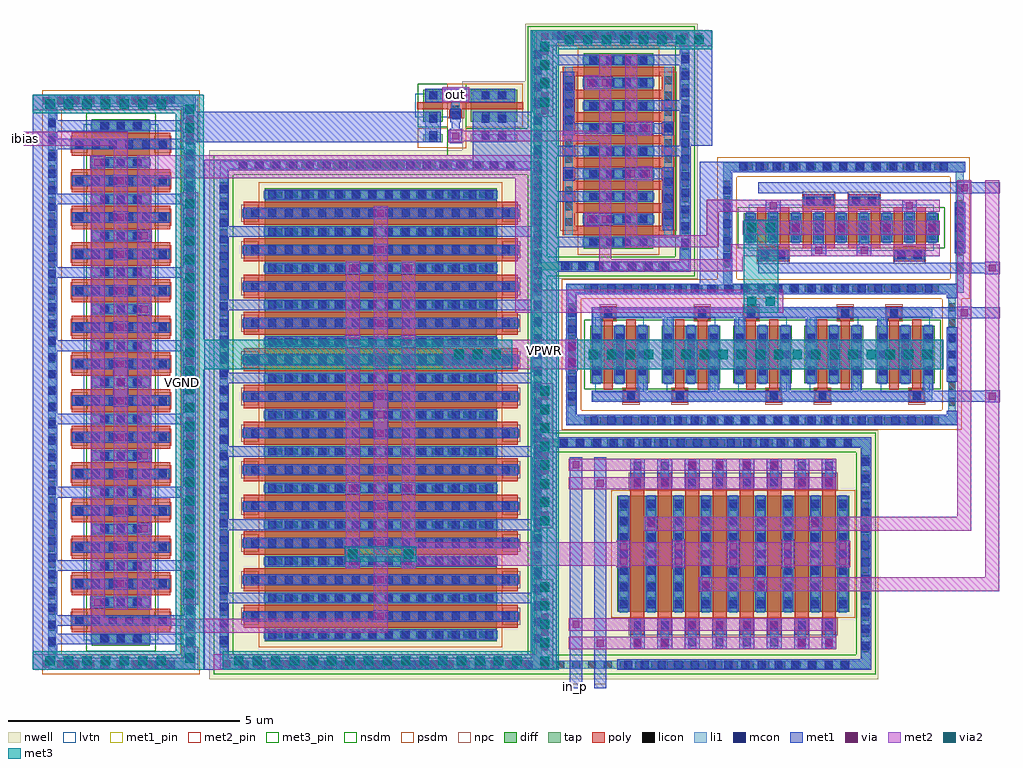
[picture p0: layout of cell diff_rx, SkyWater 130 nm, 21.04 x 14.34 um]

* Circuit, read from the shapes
.subckt diff_rx VGND VPWR ibias in_n in_p out
XM1 n1 VGND VGND VGND sky130_fd_pr__nfet_01v8_lvt w=1.25 l=0.5 m=2
XM2 VGND ibias n1 VGND sky130_fd_pr__nfet_01v8_lvt w=1.25 l=0.5 m=2
XM3 n2 ibias VGND VGND sky130_fd_pr__nfet_01v8_lvt w=1.25 l=0.5 m=8
XM4 ibias ibias VGND VGND sky130_fd_pr__nfet_01v8_lvt w=1.25 l=0.5 m=2
XM5 out n3 VGND VGND sky130_fd_pr__nfet_01v8_lvt w=0.42 l=0.15
XM6 VGND n4 n4 VGND sky130_fd_pr__nfet_01v8_lvt w=1.25 l=0.2 m=3
XM7 n5 n5 VGND VGND sky130_fd_pr__nfet_01v8_lvt w=1.25 l=0.2 m=3
XM8 VGND n5 n4 VGND sky130_fd_pr__nfet_01v8_lvt w=1.25 l=0.2 m=2
XM9 n5 n4 VGND VGND sky130_fd_pr__nfet_01v8_lvt w=1.25 l=0.2 m=2
XM10 n6 n5 n2 VGND sky130_fd_pr__nfet_01v8_lvt w=0.63 l=0.2 m=4
XM11 n3 n4 n2 VGND sky130_fd_pr__nfet_01v8_lvt w=0.63 l=0.2 m=4
XM12 VPWR n1 n7 VPWR sky130_fd_pr__pfet_01v8 w=5 l=0.5
XM13 n8 n1 VPWR VPWR sky130_fd_pr__pfet_01v8 w=5 l=0.5 m=8
XM14 n1 n1 VPWR VPWR sky130_fd_pr__pfet_01v8 w=5 l=0.5 m=2
XM15 n9 n1 VPWR VPWR sky130_fd_pr__pfet_01v8 w=5 l=0.5
XM16 out n3 VPWR VPWR sky130_fd_pr__pfet_01v8 w=1 l=0.15
XM17 n3 n6 VPWR VPWR sky130_fd_pr__pfet_01v8 w=1.5 l=0.2 m=4
XM18 n6 n6 VPWR VPWR sky130_fd_pr__pfet_01v8 w=1.5 l=0.2 m=4
XM19 n4 in_n n8 VPWR sky130_fd_pr__pfet_01v8 w=2.5 l=0.3 m=4
XM20 n5 in_p n8 VPWR sky130_fd_pr__pfet_01v8 w=2.5 l=0.3 m=4
.ends

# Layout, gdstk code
from math import pi, radians
import gdstk
lib = gdstk.Library(unit=1e-6, precision=1e-09)
def R(c, l, rs):  # rectangles x0, y0, x1, y1
    for r in rs: c.add(gdstk.rectangle(r[:2], r[2:], *l))
def A(c, l, x, y, w, h, nx, ny, dx, dy):  # array of equal rectangles
    R(c, l, [(x+i*dx, y+j*dy, x+i*dx+w, y+j*dy+h) for i in range(nx) for j in range(ny)])
nwell = (64, 20)
diff = (65, 20)
tap = (65, 44)
poly = (66, 20)
licon = (66, 44)
li1 = (67, 20)
mcon = (67, 44)
met1_pin = (68, 16)
met1 = (68, 20)
via = (68, 44)
met2_pin = (69, 16)
met2 = (69, 20)
via2 = (69, 44)
met3_pin = (70, 16)
met3 = (70, 20)
nsdm = (93, 44)
psdm = (94, 20)
npc = (95, 20)
lvtn = (125, 44)

diff_rx_s2ld = lib.new_cell('diff_rx_s2ld')
R(diff_rx_s2ld, nwell, [(-2.7,-1.7,2.7,1.7)])
R(diff_rx_s2ld, diff, [(-2.105,-0.75,2.105,0.75)])
A(diff_rx_s2ld, poly, -1.815, -0.935, 0.2, 1.87, 8, 1, 0.49, 0)
R(diff_rx_s2ld, poly, [(-1.815,-1.205,1.815,-0.935), (-1.815,0.935,1.815,1.205)])
A(diff_rx_s2ld, licon, -1.615, -1.155, 0.17, 0.17, 10, 2, 0.34, 2.14)
A(diff_rx_s2ld, licon, -2.045, -0.595, 0.17, 0.17, 9, 4, 0.49, 0.34)
A(diff_rx_s2ld, li1, -2.045, -0.77, 0.17, 1.54, 9, 1, 0.49, 0)
R(diff_rx_s2ld, li1, [(-1.815,-1.155,1.815,-0.985), (-1.815,0.985,1.815,1.155)])
A(diff_rx_s2ld, mcon, -1.47, -1.155, 0.17, 0.17, 3, 1, 0.36, 0)
A(diff_rx_s2ld, mcon, -2.045, -0.625, 0.17, 0.17, 9, 4, 0.49, 0.36)
A(diff_rx_s2ld, mcon, 0.58, 0.985, 0.17, 0.17, 3, 1, 0.36, 0)
R(diff_rx_s2ld, mcon, [(0.405,-1.155,0.575,-0.985), (-0.575,0.985,-0.405,1.155)])
A(diff_rx_s2ld, met1, -2.075, -1.325, 0.23, 2.65, 3, 1, 1.96, 0)
R(diff_rx_s2ld, met1, [(-2.6,-1.555,2.6,-1.325), (-2.6,-1.325,-2.37,1.325), (0.865,-1.325,1.095,0.75), (2.37,-1.325,2.6,1.325), (-1.705,-1.185,-0.345,-0.955), (0.345,-1.185,0.635,-0.955), (-0.605,-0.955,-0.375,-0.76), (0.375,-0.955,0.605,-0.76), (-0.62,-0.76,-0.36,-0.12), (0.36,-0.76,0.62,-0.12), (-1.585,-0.75,-1.355,0.12), (-1.095,-0.75,-0.865,1.325), (1.355,-0.75,1.585,0.12), (-0.605,-0.12,-0.375,0.955), (0.375,-0.12,0.605,0.955), (-1.6,0.12,-1.34,0.76), (1.34,0.12,1.6,0.76), (-0.635,0.955,-0.345,1.185), (0.345,0.955,1.705,1.185), (-2.6,1.325,2.6,1.555)])
R(diff_rx_s2ld, via, [(-0.565,-0.675,-0.415,-0.525), (0.415,-0.675,0.565,-0.525), (-0.565,-0.355,-0.415,-0.205), (0.415,-0.355,0.565,-0.205), (-1.545,0.205,-1.395,0.355), (1.395,0.205,1.545,0.355), (-1.545,0.525,-1.395,0.675), (1.395,0.525,1.545,0.675)])
R(diff_rx_s2ld, met2, [(-0.65,-0.73,-0.33,-0.41), (0.33,-0.73,0.65,-0.41), (-2.075,-0.41,2.075,-0.15), (-2.075,0.15,2.075,0.41), (-1.63,0.41,-1.31,0.73), (1.31,0.41,1.63,0.73)])
R(diff_rx_s2ld, psdm, [(-2.23,-0.875,2.23,0.875)])
R(diff_rx_s2ld, npc, [(-1.715,-1.255,1.715,-0.885), (-1.715,0.885,1.715,1.255)])

diff_rx_s2dp = lib.new_cell('diff_rx_s2dp')
R(diff_rx_s2dp, diff, [(-2.105,-0.315,2.105,0.315)])
A(diff_rx_s2dp, poly, -0.835, -0.39, 0.2, 0.835, 4, 1, 0.49, 0)
R(diff_rx_s2dp, poly, [(-0.835,-0.725,-0.145,-0.39), (0.145,-0.725,0.835,-0.39), (-1.815,-0.445,-1.615,0.39), (-1.325,-0.445,-1.125,0.39), (1.125,-0.445,1.325,0.39), (1.615,-0.445,1.815,0.39), (-1.815,0.39,-1.125,0.725), (1.125,0.39,1.815,0.725)])
A(diff_rx_s2dp, licon, -2.045, -0.255, 0.17, 0.17, 9, 2, 0.49, 0.34)
R(diff_rx_s2dp, licon, [(-0.745,-0.675,-0.575,-0.505), (-0.405,-0.675,-0.235,-0.505), (0.235,-0.675,0.405,-0.505), (0.575,-0.675,0.745,-0.505), (-1.725,0.505,-1.555,0.675), (-1.385,0.505,-1.215,0.675), (1.215,0.505,1.385,0.675), (1.555,0.505,1.725,0.675)])
A(diff_rx_s2dp, li1, -2.045, -0.335, 0.17, 0.67, 9, 1, 0.49, 0)
R(diff_rx_s2dp, li1, [(-0.835,-0.675,-0.145,-0.505), (0.145,-0.675,0.835,-0.505), (-1.815,0.505,-1.125,0.675), (1.125,0.505,1.815,0.675)])
A(diff_rx_s2dp, mcon, -2.045, -0.085, 0.17, 0.17, 9, 1, 0.49, 0)
R(diff_rx_s2dp, mcon, [(-0.755,-0.675,-0.585,-0.505), (-0.395,-0.675,-0.225,-0.505), (0.225,-0.675,0.395,-0.505), (0.585,-0.675,0.755,-0.505), (-1.735,0.505,-1.565,0.675), (-1.375,0.505,-1.205,0.675), (1.205,0.505,1.375,0.675), (1.565,0.505,1.735,0.675)])
A(diff_rx_s2dp, met1, -2.075, -0.315, 0.23, 0.155, 5, 2, 0.98, 0.475)
A(diff_rx_s2dp, met1, -2.09, -0.16, 0.26, 0.32, 5, 1, 0.98, 0)
R(diff_rx_s2dp, met1, [(-1.795,-0.98,1.795,-0.75), (-0.815,-0.75,-0.165,-0.475), (0.165,-0.75,0.815,-0.475), (-1.63,-0.61,-1.31,-0.35), (1.31,-0.61,1.63,-0.35), (-1.585,-0.35,-1.355,0.315), (1.355,-0.35,1.585,0.315), (-0.605,-0.315,-0.375,0.35), (0.375,-0.315,0.605,0.35), (-0.65,0.35,-0.33,0.61), (0.33,0.35,0.65,0.61), (-1.795,0.475,-1.145,0.75), (1.145,0.475,1.795,0.75), (-1.795,0.75,1.795,0.98)])
A(diff_rx_s2dp, via, -2.035, -0.075, 0.15, 0.15, 5, 1, 0.98, 0)
R(diff_rx_s2dp, via, [(-1.545,-0.555,-1.395,-0.405), (1.395,-0.555,1.545,-0.405), (-0.565,0.405,-0.415,0.555), (0.415,0.405,0.565,0.555)])
R(diff_rx_s2dp, met2, [(-2.12,-0.61,2.12,-0.35), (-2.12,-0.15,2.12,0.15), (-2.12,0.35,2.12,0.61)])
R(diff_rx_s2dp, nsdm, [(-2.23,-0.44,2.23,0.44)])
R(diff_rx_s2dp, npc, [(-0.845,-0.775,-0.135,-0.405), (0.135,-0.775,0.845,-0.405), (-1.825,0.405,-1.115,0.775), (1.115,0.405,1.825,0.775)])
R(diff_rx_s2dp, lvtn, [(-1.995,-0.495,1.995,0.495)])

diff_rx_s1ld = lib.new_cell('diff_rx_s1ld')
A(diff_rx_s1ld, diff, -3.715, -0.625, 1.27, 1.25, 5, 1, 1.54, 0)
R(diff_rx_s1ld, poly, [(-3,-1.035,-2.67,-0.765), (-1.95,-1.035,-1.62,-0.765), (0.08,-1.035,0.41,-0.765), (1.13,-1.035,1.46,-0.765), (3.16,-1.035,3.49,-0.765), (-2.935,-0.765,-2.735,0.755), (-1.885,-0.765,-1.685,0.755), (0.145,-0.765,0.345,0.755), (1.195,-0.765,1.395,0.755), (3.225,-0.765,3.425,0.755), (-3.425,-0.755,-3.225,0.765), (-1.395,-0.755,-1.195,0.765), (-0.345,-0.755,-0.145,0.765), (1.685,-0.755,1.885,0.765), (2.735,-0.755,2.935,0.765), (-3.49,0.765,-3.16,1.035), (-1.46,0.765,-1.13,1.035), (-0.41,0.765,-0.08,1.035), (1.62,0.765,1.95,1.035), (2.67,0.765,3,1.035)])
A(diff_rx_s1ld, licon, -3.655, -0.425, 0.17, 0.17, 3, 3, 0.49, 0.34)
A(diff_rx_s1ld, licon, -2.115, -0.425, 0.17, 0.17, 3, 3, 0.49, 0.34)
A(diff_rx_s1ld, licon, -0.575, -0.425, 0.17, 0.17, 3, 3, 0.49, 0.34)
A(diff_rx_s1ld, licon, 0.965, -0.425, 0.17, 0.17, 3, 3, 0.49, 0.34)
A(diff_rx_s1ld, licon, 2.505, -0.425, 0.17, 0.17, 3, 3, 0.49, 0.34)
R(diff_rx_s1ld, licon, [(-2.92,-0.985,-2.75,-0.815), (-1.87,-0.985,-1.7,-0.815), (0.16,-0.985,0.33,-0.815), (1.21,-0.985,1.38,-0.815), (3.24,-0.985,3.41,-0.815), (-3.41,0.815,-3.24,0.985), (-1.38,0.815,-1.21,0.985), (-0.33,0.815,-0.16,0.985), (1.7,0.815,1.87,0.985), (2.75,0.815,2.92,0.985)])
A(diff_rx_s1ld, li1, -2.675, -0.815, 0.17, 1.46, 5, 1, 1.54, 0)
A(diff_rx_s1ld, li1, -3.655, -0.645, 0.17, 1.46, 5, 1, 1.54, 0)
A(diff_rx_s1ld, li1, -3.165, -0.645, 0.17, 1.29, 5, 1, 1.54, 0)
R(diff_rx_s1ld, li1, [(-3.655,-0.985,3.655,-0.815), (-3.655,0.815,3.655,0.985)])
A(diff_rx_s1ld, mcon, -3.655, -0.445, 0.17, 0.17, 3, 3, 0.49, 0.36)
A(diff_rx_s1ld, mcon, -2.115, -0.445, 0.17, 0.17, 3, 3, 0.49, 0.36)
A(diff_rx_s1ld, mcon, -0.575, -0.445, 0.17, 0.17, 3, 3, 0.49, 0.36)
A(diff_rx_s1ld, mcon, 0.965, -0.445, 0.17, 0.17, 3, 3, 0.49, 0.36)
A(diff_rx_s1ld, mcon, 2.505, -0.445, 0.17, 0.17, 3, 3, 0.49, 0.36)
R(diff_rx_s1ld, mcon, [(-2.92,-0.985,-2.75,-0.815), (-1.87,-0.985,-1.7,-0.815), (0.16,-0.985,0.33,-0.815), (1.21,-0.985,1.38,-0.815), (3.24,-0.985,3.41,-0.815), (-3.41,0.815,-3.24,0.985), (-1.38,0.815,-1.21,0.985), (-0.33,0.815,-0.16,0.985), (1.7,0.815,1.87,0.985), (2.75,0.815,2.92,0.985)])
A(diff_rx_s1ld, met1, -2.705, -0.785, 0.23, 1.41, 5, 1, 1.54, 0)
A(diff_rx_s1ld, met1, -3.685, -0.625, 0.23, 1.41, 5, 1, 1.54, 0)
A(diff_rx_s1ld, met1, -3.195, -0.625, 0.23, 0.305, 5, 2, 1.54, 0.945)
A(diff_rx_s1ld, met1, -3.21, -0.32, 0.26, 0.64, 5, 1, 1.54, 0)
R(diff_rx_s1ld, met1, [(-3.685,-1.015,3.685,-0.785), (-3.685,0.785,3.685,1.015)])
A(diff_rx_s1ld, via, -3.155, -0.235, 0.15, 0.15, 5, 2, 1.54, 0.32)
R(diff_rx_s1ld, met2, [(-3.9,-0.32,3.9,0.32)])
R(diff_rx_s1ld, nsdm, [(-3.84,-0.75,3.84,0.75)])
R(diff_rx_s1ld, npc, [(-3.02,-1.085,-2.65,-0.715), (-1.97,-1.085,-1.6,-0.715), (0.06,-1.085,0.43,-0.715), (1.11,-1.085,1.48,-0.715), (3.14,-1.085,3.51,-0.715), (-3.51,0.715,-3.14,1.085), (-1.48,0.715,-1.11,1.085), (-0.43,0.715,-0.06,1.085), (1.6,0.715,1.97,1.085), (2.65,0.715,3.02,1.085)])
A(diff_rx_s1ld, lvtn, -3.605, -0.805, 1.05, 1.61, 5, 1, 1.54, 0)

diff_rx_s1dp = lib.new_cell('diff_rx_s1dp')
R(diff_rx_s1dp, nwell, [(-3.7,-2.3,2.7,2.3)])
R(diff_rx_s1dp, diff, [(-2.505,-1.25,2.505,1.25)])
A(diff_rx_s1dp, poly, -2.215, -1.735, 0.3, 3.47, 8, 1, 0.59, 0)
A(diff_rx_s1dp, licon, -2.15, -1.655, 0.17, 0.17, 8, 2, 0.59, 3.14)
A(diff_rx_s1dp, licon, -2.445, -1.105, 0.17, 0.17, 9, 7, 0.59, 0.34)
A(diff_rx_s1dp, li1, -2.15, -2.035, 0.17, 0.63, 8, 2, 0.59, 3.44)
A(diff_rx_s1dp, li1, -2.445, -1.27, 0.17, 2.54, 9, 1, 0.59, 0)
A(diff_rx_s1dp, mcon, -2.15, -1.985, 0.17, 0.17, 8, 2, 0.59, 0.36)
A(diff_rx_s1dp, mcon, -2.445, -1.165, 0.17, 0.17, 9, 7, 0.59, 0.36)
A(diff_rx_s1dp, mcon, -2.15, 1.455, 0.17, 0.17, 8, 2, 0.59, 0.36)
A(diff_rx_s1dp, met1, -2.225, -2.05, 0.32, 0.66, 8, 2, 0.59, 3.44)
A(diff_rx_s1dp, met1, -2.475, -1.25, 0.23, 0.93, 5, 2, 1.18, 1.57)
A(diff_rx_s1dp, met1, -2.49, -0.32, 0.26, 0.64, 5, 1, 1.18, 0)
R(diff_rx_s1dp, met1, [(-3.52,-2.2,-3.26,2.08), (-3,-2.2,-2.74,2.08), (-1.885,-1.25,-1.655,0.49), (-0.705,-1.25,-0.475,-0.81), (0.475,-1.25,0.705,-0.81), (1.655,-1.25,1.885,0.49), (-0.72,-0.81,-0.46,-0.49), (0.46,-0.81,0.72,-0.49), (-0.705,-0.49,-0.475,1.25), (0.475,-0.49,0.705,1.25), (-1.9,0.49,-1.64,0.81), (1.64,0.49,1.9,0.81), (-1.885,0.81,-1.655,1.25), (1.655,0.81,1.885,1.25)])
A(diff_rx_s1dp, via, -0.96, -1.595, 0.15, 0.15, 4, 2, 0.59, 3.44)
A(diff_rx_s1dp, via, -2.435, -0.235, 0.15, 0.15, 5, 2, 1.18, 0.32)
R(diff_rx_s1dp, via, [(-2.945,-1.995,-2.795,-1.845), (-2.14,-1.995,-1.99,-1.845), (-1.55,-1.995,-1.4,-1.845), (1.4,-1.995,1.55,-1.845), (1.99,-1.995,2.14,-1.845), (-3.465,-1.595,-3.315,-1.445), (-0.665,-0.725,-0.515,-0.575), (0.515,-0.725,0.665,-0.575), (-1.845,0.575,-1.695,0.725), (1.695,0.575,1.845,0.725), (-2.945,1.445,-2.795,1.595), (-2.14,1.445,-1.99,1.595), (-1.55,1.445,-1.4,1.595), (1.4,1.445,1.55,1.595), (1.99,1.445,2.14,1.595), (-3.465,1.845,-3.315,1.995)])
A(diff_rx_s1dp, met2, -2.52, -0.29, 0.32, 0.04, 5, 2, 1.18, 0.54)
R(diff_rx_s1dp, met2, [(-3.55,-2.05,2.225,-1.79), (-3.55,-1.65,2.225,-1.39), (-0.75,-0.8,0.75,-0.5), (-2.52,-0.25,2.52,0.25), (-1.93,0.5,1.93,0.8), (-3.55,1.39,2.225,1.65), (-3.55,1.79,2.225,2.05)])
R(diff_rx_s1dp, psdm, [(-2.63,-1.375,2.63,1.375)])
R(diff_rx_s1dp, npc, [(-2.25,-1.755,2.25,-1.385), (-2.25,1.385,2.25,1.755)])

diff_rx_s1cm = lib.new_cell('diff_rx_s1cm')
R(diff_rx_s1cm, nwell, [(-5.7,-3.7,5.7,3.7)])
R(diff_rx_s1cm, diff, [(-4.885,-2.5,4.885,2.5)])
A(diff_rx_s1cm, poly, -4.595, -2.955, 0.5, 5.91, 12, 1, 0.79, 0)
A(diff_rx_s1cm, licon, -4.43, -2.905, 0.17, 0.17, 12, 2, 0.79, 5.64)
A(diff_rx_s1cm, licon, -4.825, -2.295, 0.17, 0.17, 13, 14, 0.79, 0.34)
A(diff_rx_s1cm, li1, -4.43, -2.985, 0.17, 5.97, 12, 1, 0.79, 0)
A(diff_rx_s1cm, li1, -4.825, -2.52, 0.17, 5.04, 13, 1, 0.79, 0)
A(diff_rx_s1cm, mcon, -4.43, -2.785, 0.17, 0.17, 12, 2, 0.79, 5.4)
A(diff_rx_s1cm, mcon, -4.825, -2.425, 0.17, 0.17, 25, 14, 0.395, 0.36)
A(diff_rx_s1cm, met1, -4.065, -3.27, 0.23, 6.54, 6, 1, 1.58, 0)
A(diff_rx_s1cm, met1, -4.46, -2.965, 0.23, 2.805, 12, 2, 0.79, 3.125)
A(diff_rx_s1cm, met1, -4.475, -0.16, 0.26, 0.32, 5, 1, 0.79, 0)
A(diff_rx_s1cm, met1, 1.055, -0.16, 0.26, 0.32, 5, 1, 0.79, 0)
R(diff_rx_s1cm, met1, [(-5.5,-3.5,5.5,-3.27), (-5.5,-3.27,-5.27,3.27), (5.27,-3.27,5.5,3.27), (-4.855,-2.5,-4.625,2.5), (-3.275,-2.5,-3.045,-0.76), (-1.695,-2.5,-1.465,-0.76), (-0.115,-2.5,0.115,-0.16), (1.465,-2.5,1.695,-0.76), (3.045,-2.5,3.275,-0.76), (4.625,-2.5,4.855,2.5), (-3.29,-0.76,-3.03,-0.44), (-1.71,-0.76,-1.45,-0.44), (1.45,-0.76,1.71,-0.44), (3.03,-0.76,3.29,-0.44), (-3.275,-0.44,-3.045,0.44), (-1.695,-0.44,-1.465,0.44), (1.465,-0.44,1.695,0.44), (3.045,-0.44,3.275,0.44), (-0.525,-0.16,0.525,0.16), (-0.115,0.16,0.115,2.5), (-3.29,0.44,-3.03,0.76), (-1.71,0.44,-1.45,0.76), (1.45,0.44,1.71,0.76), (3.03,0.44,3.29,0.76), (-3.275,0.76,-3.045,2.5), (-1.695,0.76,-1.465,2.5), (1.465,0.76,1.695,2.5), (3.045,0.76,3.275,2.5), (-5.5,3.27,5.5,3.5)])
A(diff_rx_s1cm, via, -4.42, -0.075, 0.15, 0.15, 6, 1, 0.79, 0)
A(diff_rx_s1cm, via, 0.32, -0.075, 0.15, 0.15, 6, 1, 0.79, 0)
R(diff_rx_s1cm, via, [(-3.235,-0.675,-3.085,-0.525), (-1.655,-0.675,-1.505,-0.525), (1.505,-0.675,1.655,-0.525), (3.085,-0.675,3.235,-0.525), (-0.075,-0.075,0.075,0.075), (-3.235,0.525,-3.085,0.675), (-1.655,0.525,-1.505,0.675), (1.505,0.525,1.655,0.675), (3.085,0.525,3.235,0.675)])
R(diff_rx_s1cm, met2, [(-3.32,-0.75,3.32,-0.45), (-4.505,-0.15,4.505,0.15), (-3.32,0.45,3.32,0.75)])
R(diff_rx_s1cm, psdm, [(-5.01,-2.625,5.01,2.625)])
A(diff_rx_s1cm, npc, -4.53, -3.005, 0.37, 0.37, 12, 2, 0.79, 5.64)

diff_rx_cmlo = lib.new_cell('diff_rx_cmlo')
R(diff_rx_cmlo, diff, [(-5.675,-0.625,5.675,0.625)])
A(diff_rx_cmlo, poly, -5.385, -1.065, 0.5, 2.13, 14, 1, 0.79, 0)
A(diff_rx_cmlo, licon, -5.22, -0.985, 0.17, 0.17, 14, 2, 0.79, 1.8)
A(diff_rx_cmlo, licon, -5.615, -0.425, 0.17, 0.17, 15, 3, 0.79, 0.34)
A(diff_rx_cmlo, li1, -5.22, -1.065, 0.17, 2.13, 14, 1, 0.79, 0)
A(diff_rx_cmlo, li1, -5.615, -0.645, 0.17, 1.29, 15, 1, 0.79, 0)
A(diff_rx_cmlo, mcon, -5.22, -0.985, 0.17, 0.17, 14, 6, 0.79, 0.36)
A(diff_rx_cmlo, mcon, -5.615, -0.445, 0.17, 0.17, 15, 3, 0.79, 0.36)
A(diff_rx_cmlo, met1, -4.065, -1.37, 0.23, 2.74, 6, 1, 1.58, 0)
A(diff_rx_cmlo, met1, -4.46, -1.045, 0.23, 0.885, 12, 2, 0.79, 1.205)
A(diff_rx_cmlo, met1, -4.475, -0.16, 0.26, 0.32, 5, 1, 0.79, 0)
A(diff_rx_cmlo, met1, 1.055, -0.16, 0.26, 0.32, 5, 1, 0.79, 0)
R(diff_rx_cmlo, met1, [(-6.2,-1.6,6.2,-1.37), (-6.2,-1.37,-5.97,1.37), (-5.645,-1.37,-5.415,1.37), (-5.25,-1.37,-5.02,1.37), (5.02,-1.37,5.25,1.37), (5.415,-1.37,5.645,1.37), (5.97,-1.37,6.2,1.37), (-4.87,-0.66,-4.61,-0.34), (4.61,-0.66,4.87,-0.34), (-3.275,-0.625,-3.045,0.34), (-1.695,-0.625,-1.465,0.34), (-0.115,-0.625,0.115,-0.16), (1.465,-0.625,1.695,0.34), (3.045,-0.625,3.275,0.34), (-4.855,-0.34,-4.625,0.625), (4.625,-0.34,4.855,0.625), (-0.525,-0.16,0.525,0.16), (-0.115,0.16,0.115,0.625), (-3.29,0.34,-3.03,0.66), (-1.71,0.34,-1.45,0.66), (1.45,0.34,1.71,0.66), (3.03,0.34,3.29,0.66), (-6.2,1.37,6.2,1.6)])
A(diff_rx_cmlo, via, -4.42, -0.075, 0.15, 0.15, 6, 1, 0.79, 0)
A(diff_rx_cmlo, via, 0.32, -0.075, 0.15, 0.15, 6, 1, 0.79, 0)
R(diff_rx_cmlo, via, [(-4.815,-0.575,-4.665,-0.425), (4.665,-0.575,4.815,-0.425), (-0.075,-0.075,0.075,0.075), (-3.235,0.425,-3.085,0.575), (-1.655,0.425,-1.505,0.575), (1.505,0.425,1.655,0.575), (3.085,0.425,3.235,0.575)])
A(diff_rx_cmlo, met2, -4.9, -0.65, 9.8, 0.3, 1, 3, 0, 0.5)
R(diff_rx_cmlo, nsdm, [(-5.8,-0.75,5.8,0.75)])
A(diff_rx_cmlo, npc, -5.32, -1.085, 0.37, 0.37, 14, 2, 0.79, 1.8)
R(diff_rx_cmlo, lvtn, [(-5.565,-0.805,5.565,0.805)])

diff_rx_buf = lib.new_cell('diff_rx_buf')
R(diff_rx_buf, nwell, [(3.21,24.22,4.7,25.58)])
R(diff_rx_buf, diff, [(3.83,24.4,4.52,25.4), (3.83,26,4.52,26.42)])
R(diff_rx_buf, tap, [(3.39,24.4,3.56,25.4), (3.39,26,3.56,26.42)])
R(diff_rx_buf, poly, [(4.1,24.27,4.25,25.59), (3.92,25.59,4.25,25.86), (4.1,25.86,4.25,26.55)])
R(diff_rx_buf, licon, [(3.39,24.645,3.56,24.815), (3.87,24.645,4.04,24.815), (4.31,24.645,4.48,24.815), (3.39,24.985,3.56,25.155), (3.87,24.985,4.04,25.155), (4.31,24.985,4.48,25.155), (4,25.64,4.17,25.81), (3.39,26.125,3.56,26.295), (3.87,26.125,4.04,26.295), (4.31,26.125,4.48,26.295)])
R(diff_rx_buf, li1, [(3.39,24.44,4.04,25.36), (4.31,24.44,4.48,25.36), (3.88,25.64,4.25,25.81), (3.39,26.04,4.04,26.38), (4.31,26.04,4.48,26.38)])
R(diff_rx_buf, mcon, [(3.45,24.635,3.62,24.805), (3.81,24.635,3.98,24.805), (4.31,24.635,4.48,24.805), (3.45,24.995,3.62,25.165), (3.81,24.995,3.98,25.165), (4.31,24.995,4.48,25.165), (3.88,25.64,4.05,25.81), (3.45,26.125,3.62,26.295), (3.81,26.125,3.98,26.295), (4.31,26.125,4.48,26.295)])
R(diff_rx_buf, met1, [(3.39,24.44,4.04,25.36), (4.25,24.44,4.54,26.38), (3.82,25.61,4.11,25.64), (3.39,25.64,4.11,25.81), (3.82,25.81,4.11,25.84), (3.39,26.04,4.04,26.38)])
R(diff_rx_buf, nsdm, [(3.265,24.275,3.685,25.5), (3.26,25.5,4.65,25.9), (3.705,25.9,4.645,26.545)])
R(diff_rx_buf, psdm, [(3.705,24.275,4.645,25.5), (3.26,25.5,4.65,25.9), (3.265,25.9,3.685,26.545)])
R(diff_rx_buf, npc, [(3.9,25.54,4.27,25.91)])
R(diff_rx_buf, lvtn, [(3.92,25.82,4.43,26.6)])

diff_rx = lib.new_cell('diff_rx')
R(diff_rx, nwell, [(7.8,-0.3,14.825,0.1), (7.8,0.1,8,4.7), (14.4,0.1,14.825,4.7), (7.8,4.7,14.825,5.065), (7.8,8.335,10.93,8.385), (10.925,8.385,10.93,13.785), (7.22,11.1,7.525,13.785), (7.22,13.785,10.93,13.835)])
R(diff_rx, tap, [(-3.07,-0.07,0.07,0.1), (0.63,-0.07,14.645,0.1), (-3.07,0.1,-2.9,12.1), (-0.1,0.1,0.07,12.1), (0.63,0.1,0.8,10.7), (7.4,0.1,7.57,4.715), (14.475,0.1,14.645,4.715), (7.4,4.715,14.645,4.885), (7.4,4.885,7.57,8.515), (8.13,5.2,16.5,5.37), (8.13,5.37,8.3,8.03), (16.33,5.37,16.5,8.03), (8.13,8.03,16.67,8.2), (11.48,8.2,11.65,10.66), (16.5,8.2,16.67,10.66), (7.4,8.515,10.75,8.685), (7.4,8.685,7.57,10.7), (10.58,8.685,10.75,13.485), (11.48,10.66,16.67,10.83), (0.63,10.7,7.57,10.87), (7.4,10.87,7.57,13.485), (-3.07,12.1,0.07,12.27), (7.4,13.485,10.75,13.655)])
A(diff_rx, licon, -2.605, -0.07, 0.17, 0.17, 7, 2, 0.34, 12.17)
A(diff_rx, licon, 1.09, -0.07, 0.17, 0.17, 39, 1, 0.34, 0)
A(diff_rx, licon, 14.475, 0.28, 0.17, 0.17, 1, 13, 0, 0.34)
A(diff_rx, licon, 0.63, 0.385, 0.17, 0.17, 1, 30, 0, 0.34)
A(diff_rx, licon, -3.07, 0.405, 0.17, 0.17, 1, 34, 0, 0.34)
A(diff_rx, licon, -0.1, 0.405, 0.17, 0.17, 1, 34, 0, 0.34)
A(diff_rx, licon, 7.4, 0.5, 0.17, 0.17, 1, 38, 0, 0.34)
A(diff_rx, licon, 7.96, 4.715, 0.17, 0.17, 19, 1, 0.34, 0)
A(diff_rx, licon, 8.485, 5.2, 0.17, 0.17, 23, 2, 0.34, 2.83)
A(diff_rx, licon, 8.13, 5.595, 0.17, 0.17, 1, 7, 0, 0.34)
A(diff_rx, licon, 16.33, 5.595, 0.17, 0.17, 1, 7, 0, 0.34)
A(diff_rx, licon, 16.5, 8.495, 0.17, 0.17, 1, 6, 0, 0.34)
A(diff_rx, licon, 8.055, 8.515, 0.17, 0.17, 7, 1, 0.34, 0)
A(diff_rx, licon, 11.48, 8.58, 0.17, 0.17, 1, 6, 0, 0.34)
A(diff_rx, licon, 10.58, 8.96, 0.17, 0.17, 1, 13, 0, 0.34)
A(diff_rx, licon, 11.95, 10.66, 0.17, 0.17, 13, 1, 0.34, 0)
A(diff_rx, licon, 1.04, 10.7, 0.17, 0.17, 18, 1, 0.34, 0)
A(diff_rx, licon, 7.8, 13.485, 0.17, 0.17, 8, 1, 0.34, 0)
R(diff_rx, li1, [(-3.07,-0.07,0.07,0.1), (0.63,-0.07,14.645,0.1), (-3.07,0.1,-2.9,12.1), (-0.1,0.1,0.07,12.1), (0.63,0.1,0.8,10.7), (7.4,0.1,7.57,4.715), (14.475,0.1,14.645,4.715), (7.4,4.715,14.645,4.885), (7.4,4.885,7.57,8.515), (8.13,5.2,16.5,5.37), (8.13,5.37,8.3,8.03), (16.33,5.37,16.5,8.03), (8.13,8.03,16.67,8.2), (11.48,8.2,11.65,10.66), (16.5,8.2,16.67,10.66), (7.4,8.515,10.75,8.685), (7.4,8.685,7.57,10.7), (10.58,8.685,10.75,13.485), (11.48,10.66,16.67,10.83), (0.63,10.7,7.57,10.87), (7.4,10.87,7.57,13.485), (-3.07,12.1,0.07,12.27), (7.4,13.485,10.75,13.655)])
A(diff_rx, mcon, -2.665, -0.07, 0.17, 0.17, 7, 2, 0.36, 12.17)
A(diff_rx, mcon, 1.085, -0.07, 0.17, 0.17, 19, 1, 0.36, 0)
A(diff_rx, mcon, 9.35, -0.07, 0.17, 0.17, 14, 1, 0.36, 0)
A(diff_rx, mcon, 14.475, 0.34, 0.17, 0.17, 1, 12, 0, 0.36)
A(diff_rx, mcon, -3.07, 0.435, 0.17, 0.17, 1, 32, 0, 0.36)
A(diff_rx, mcon, -0.1, 0.435, 0.17, 0.17, 1, 32, 0, 0.36)
A(diff_rx, mcon, 0.63, 0.455, 0.17, 0.17, 1, 28, 0, 0.36)
A(diff_rx, mcon, 7.4, 0.49, 0.17, 0.17, 1, 36, 0, 0.36)
A(diff_rx, mcon, 7.96, 4.715, 0.17, 0.17, 18, 1, 0.36, 0)
A(diff_rx, mcon, 8.625, 5.2, 0.17, 0.17, 21, 2, 0.36, 2.83)
A(diff_rx, mcon, 8.13, 5.715, 0.17, 0.17, 1, 6, 0, 0.36)
A(diff_rx, mcon, 16.33, 6.255, 0.17, 0.17, 1, 3, 0, 0.36)
A(diff_rx, mcon, 7.995, 8.515, 0.17, 0.17, 7, 1, 0.36, 0)
A(diff_rx, mcon, 11.48, 8.71, 0.17, 0.17, 1, 5, 0, 0.36)
A(diff_rx, mcon, 16.5, 8.985, 0.17, 0.17, 1, 3, 0, 0.36)
A(diff_rx, mcon, 10.58, 9.02, 0.17, 0.17, 1, 12, 0, 0.36)
A(diff_rx, mcon, 11.83, 10.66, 0.17, 0.17, 13, 1, 0.36, 0)
A(diff_rx, mcon, 1.05, 10.7, 0.17, 0.17, 17, 1, 0.36, 0)
A(diff_rx, mcon, 7.91, 13.485, 0.17, 0.17, 7, 1, 0.36, 0)
R(diff_rx, met1_pin, [(8.18,-0.5,8.44,-0.4), (8.7,-0.5,8.96,-0.4)])
R(diff_rx, met1, [(8.18,-0.5,8.44,0.2), (8.7,-0.5,8.96,0.2), (-3.4,-0.1,-0.3,-0.07), (0.3,-0.1,7.9,0.16), (9.2,-0.1,14.675,0.13), (-3.4,-0.07,-0.28,0.1), (-3.4,0.1,-0.3,0.13), (-3.4,0.13,-0.13,0.16), (14.445,0.13,14.675,4.685), (-3.4,0.16,-2.87,12.04), (0.3,0.16,0.83,10.9), (7.37,0.16,7.9,4.685), (-0.1,0.28,0.07,1.27), (-0.145,1.27,0.115,10.23), (7.37,4.685,14.675,4.915), (7.37,4.915,7.9,8.485), (8.1,5.17,16.53,5.4), (8.1,5.4,8.33,6.35), (16.3,5.4,16.53,5.485), (17.12,5.67,17.44,5.685), (15.91,5.685,17.44,5.915), (17.12,5.915,17.44,5.93), (16.3,6.115,16.53,7.285), (8.085,6.35,8.345,7.05), (8.1,7.05,8.33,8), (16.52,7.47,16.84,7.485), (16.015,7.485,17.44,7.715), (16.52,7.715,16.84,7.73), (16.3,7.915,16.53,8), (8.1,8,16.53,8.23), (10.98,8.23,11.68,10.63), (17.12,8.435,17.44,8.45), (15.825,8.45,17.44,8.68), (7.37,8.485,10.78,8.715), (17.12,8.68,17.44,8.695), (7.37,8.715,7.9,10.9), (10.58,8.865,10.75,11.2), (16.47,8.88,16.7,9.98), (16.52,10.165,16.84,10.18), (15.825,10.18,17.44,10.41), (-0.1,10.23,0.07,11.3), (16.52,10.41,16.84,10.425), (10.98,10.63,16.7,10.86), (0.98,10.7,7.05,10.87), (6.08,10.9,7.9,11.93), (10.55,11.2,11.25,13.425), (5.585,11.25,5.845,11.57), (0.1,11.28,5.065,11.3), (-0.145,11.3,5.065,11.93), (-0.145,11.93,0.115,12.04), (7.37,11.93,7.9,13.425), (-3.4,12.04,0.115,12.295), (5.425,12.17,6.005,12.43), (-3.4,12.295,-0.3,12.3), (-0.145,12.295,0.115,12.3), (7.37,13.425,11.25,13.685)])
A(diff_rx, via, -3.19, -0.045, 0.15, 0.15, 9, 2, 0.32, 12.14)
A(diff_rx, via, 0.71, -0.045, 0.15, 0.15, 21, 1, 0.32, 0)
A(diff_rx, via, 7.56, 0.32, 0.15, 0.15, 1, 5, 0, 0.32)
A(diff_rx, via, -0.09, 1.355, 0.15, 0.15, 1, 28, 0, 0.32)
A(diff_rx, via, 7.56, 3.16, 0.15, 0.15, 1, 9, 0, 0.32)
A(diff_rx, via, 7.56, 11.88, 0.15, 0.15, 1, 6, 0, 0.32)
A(diff_rx, via, 8.005, 13.48, 0.15, 0.15, 10, 1, 0.32, 0)
R(diff_rx, via, [(7.56,-0.045,7.71,0.105), (17.205,5.725,17.355,5.875), (8.14,6.465,8.29,6.615), (8.14,6.785,8.29,6.935), (16.605,7.525,16.755,7.675), (17.205,8.49,17.355,8.64), (16.605,10.22,16.755,10.37), (5.64,11.335,5.79,11.485), (-0.09,11.38,0.06,11.53), (-0.09,11.7,0.06,11.85), (5.48,12.225,5.63,12.375), (5.8,12.225,5.95,12.375)])
R(diff_rx, met2_pin, [(-3.6,11.2,-3.5,11.5), (5.425,12.14,6.005,12.46)])
R(diff_rx, met2, [(-3.4,-0.1,0.17,0.24), (0.5,-0.1,7.82,0.24), (-0.2,0.24,0.17,0.4), (7.45,0.24,7.82,1.85), (-2.15,0.7,4.25,1), (-2.15,1,-1.85,1.2), (-0.2,1.3,0.17,10.2), (12.45,1.6,17.43,1.9), (17.13,1.9,17.43,10.455), (4.85,2.15,9.18,2.65), (3.36,2.26,3.64,2.54), (4.56,2.26,4.84,2.54), (13.63,2.9,16.83,3.2), (7.45,2.95,7.82,6.08), (16.53,3.2,16.83,10.455), (5.45,6.38,8.43,6.405), (5.45,6.405,16.185,6.995), (5.45,6.995,8.43,7.02), (7,7.6,12.775,8.1), (7,8.1,7.5,10.5), (8.815,8.49,11.91,8.75), (8.815,8.75,9.075,9.01), (11.65,8.75,11.91,9.08), (9.635,9.01,11.39,9.27), (11.13,9.27,11.39,9.78), (11.96,9.29,12.64,9.57), (11.13,9.78,11.91,10.04), (-0.85,10.5,7.5,11), (-1.65,11,-1.35,11.2), (-3.6,11.2,-1.35,11.5), (5.555,11.28,5.875,11.295), (5.555,11.295,8.815,11.525), (-0.2,11.3,0.17,11.96), (5.555,11.525,5.875,11.54), (7.45,11.825,7.82,13.345), (-3.4,11.96,0.17,12.3), (5.425,12.14,6.005,12.46), (7.45,13.345,11.25,13.685)])
A(diff_rx, via2, 7.535, -0.015, 0.2, 0.2, 1, 5, 0, 0.4)
A(diff_rx, via2, -3.13, 0, 0.2, 0.2, 7, 2, 0.4, 12)
A(diff_rx, via2, 0.94, 0, 0.2, 0.2, 16, 1, 0.4, 0)
A(diff_rx, via2, -0.115, 1.45, 0.2, 0.2, 1, 22, 0, 0.4)
A(diff_rx, via2, 7.535, 3.015, 0.2, 0.2, 1, 8, 0, 0.4)
A(diff_rx, via2, 5.69, 6.6, 0.2, 0.2, 3, 1, 0.4, 0)
A(diff_rx, via2, 8.58, 6.6, 0.2, 0.2, 19, 1, 0.4, 0)
A(diff_rx, via2, 7.535, 12.04, 0.2, 0.2, 1, 4, 0, 0.4)
A(diff_rx, via2, 8.065, 13.385, 0.2, 0.2, 8, 1, 0.4, 0)
R(diff_rx, via2, [(-0.115,0.06,0.085,0.26), (3.4,2.3,3.6,2.5), (4.6,2.3,4.8,2.5), (12,7.75,12.2,7.95), (12.4,7.75,12.6,7.95), (12,9.33,12.2,9.53), (12.4,9.33,12.6,9.53), (-0.115,11.485,0.085,11.685), (-0.115,11.885,0.085,12.085)])
R(diff_rx, met3_pin, [(-0.2,-0.1,-0.155,12.3), (7.335,-0.1,7.935,13.685)])
R(diff_rx, met3, [(-3.4,-0.1,0.285,0.3), (0.7,-0.1,7.935,0.3), (-0.315,0.3,0.285,6.38), (7.335,0.3,7.935,13.285), (3.33,2.23,4.87,2.57), (-0.315,6.38,6.935,7.02), (8.335,6.38,16.23,7.02), (-0.315,7.02,0.285,11.9), (11.93,7.6,12.67,9.6), (-3.4,11.9,0.285,12.3), (7.335,13.285,11.25,13.685)])
R(diff_rx, nsdm, [(0.505,-0.195,14.77,0.225), (0.505,0.225,0.925,10.575), (7.275,0.225,7.695,4.59), (14.35,0.225,14.77,4.59), (7.275,4.59,14.77,5.01), (7.275,5.01,7.695,8.39), (7.275,8.39,10.875,8.81), (7.275,8.81,7.695,10.575), (10.455,8.81,10.875,13.36), (0.505,10.575,7.695,10.995), (5.54,10.995,7.695,11.15), (5.94,11.15,7.695,11.155), (7.165,11.155,7.695,11.575), (7.275,11.575,7.695,13.36), (7.275,13.36,10.875,13.78)])
R(diff_rx, psdm, [(-3.195,-0.195,0.195,0.225), (-3.195,0.225,-2.775,11.975), (-0.225,0.225,0.195,11.975), (8.005,5.075,16.625,5.495), (8.005,5.495,8.425,7.905), (16.205,5.495,16.625,7.905), (8.005,7.905,16.795,8.325), (11.355,8.325,11.775,10.535), (16.375,8.325,16.795,10.535), (11.355,10.535,16.795,10.955), (-3.195,11.975,0.195,12.395)])
diff_rx.add(gdstk.Reference(diff_rx_s2ld, (9.225,11.085), rotation=pi/2))
diff_rx.add(gdstk.Reference(diff_rx_s2dp, (14.03,9.43), rotation=pi))
diff_rx.add(gdstk.Reference(diff_rx_s1ld, (12.33,6.7), rotation=pi))
diff_rx.add(gdstk.Reference(diff_rx_s1dp, (11.7,2.4)))
diff_rx.add(gdstk.Reference(diff_rx_s1cm, (4.1,5.4), rotation=3*pi/2))
diff_rx.add(gdstk.Reference(diff_rx_cmlo, (-1.5,6.1), rotation=3*pi/2))
diff_rx.add(gdstk.Reference(diff_rx_buf, (31.44,7.89), rotation=pi/2))
diff_rx.add(gdstk.Label('VGND', (-0.177,6.1), layer=70, texttype=5))
diff_rx.add(gdstk.Label('VPWR', (7.635,6.792), layer=70, texttype=5))
diff_rx.add(gdstk.Label('out', (5.715,12.3), layer=69, texttype=5))
diff_rx.add(gdstk.Label('in_p', (8.31,-0.45), layer=68, texttype=5))
diff_rx.add(gdstk.Label('in_n', (8.83,-0.45), layer=68, texttype=5))
diff_rx.add(gdstk.Label('ibias', (-3.55,11.35), layer=69, texttype=5))

lib.write_gds('diff_rx.gds')
